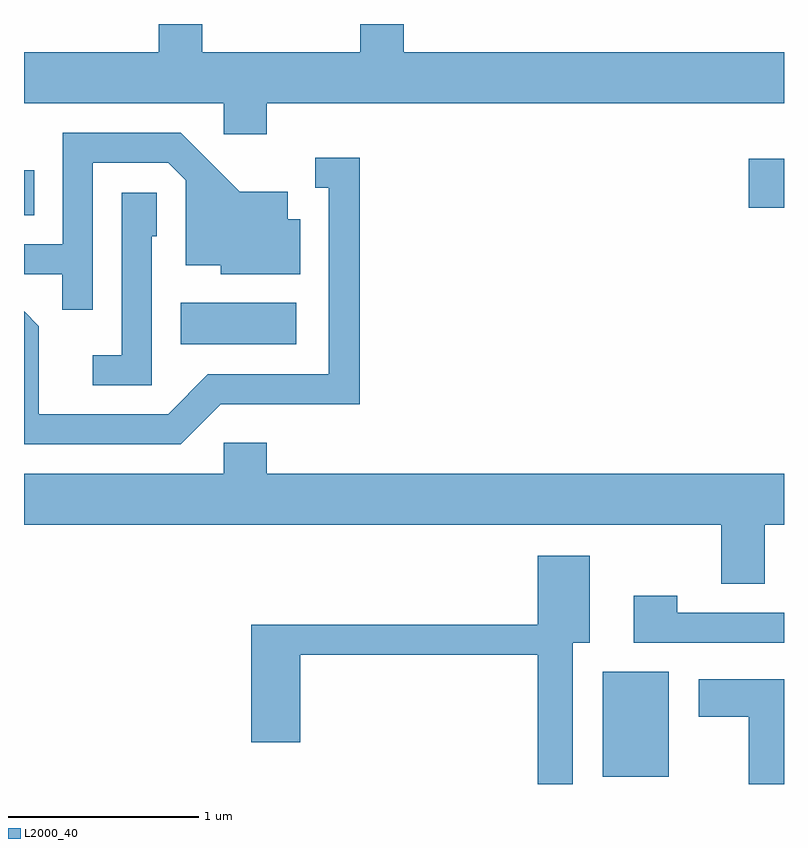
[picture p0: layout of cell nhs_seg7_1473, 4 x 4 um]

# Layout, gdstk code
import gdstk
lib = gdstk.Library(unit=1e-6, precision=1e-09)
def R(c, l, rs):  # rectangles x0, y0, x1, y1
    for r in rs: c.add(gdstk.rectangle(r[:2], r[2:], *l))
def P(c, l, *ps):  # polygons
    for p in ps: c.add(gdstk.Polygon(p, *l))
L2000_40 = (2000, 40)

nhs_seg7_1473 = lib.new_cell('nhs_seg7_1473')
R(nhs_seg7_1473, L2000_40, [(232.656,1746.291,233.004,1746.844), (230.436,1748.566,231.044,1748.784), (229.611,1749.246,229.664,1749.483), (233.426,1749.286,233.611,1749.544)])
P(nhs_seg7_1473, L2000_40, [(230.889,1749.836),(233.611,1749.836),(233.611,1750.104),(231.609,1750.104),(231.609,1750.252),(231.381,1750.252),(231.381,1750.104),(230.549,1750.104),(230.549,1750.252),(230.321,1750.252),(230.321,1750.104),(229.611,1750.104),(229.611,1749.836),(230.661,1749.836),(230.661,1749.671),(230.889,1749.671)],
  [(229.974,1749.521),(230.369,1749.521),(230.461,1749.429),(230.461,1748.981),(230.646,1748.981),(230.646,1748.936),(231.064,1748.936),(231.064,1749.224),(230.999,1749.224),(230.999,1749.369),(230.747,1749.369),(230.437,1749.679),(229.816,1749.679),(229.816,1749.094),(229.611,1749.094),(229.611,1748.936),(229.811,1748.936),(229.811,1748.748),(229.974,1748.748)],
  [(230.647,1748.251),(231.379,1748.251),(231.379,1749.549),(231.143,1749.549),(231.143,1749.391),(231.216,1749.391),(231.216,1748.409),(230.579,1748.409),(230.369,1748.199),(229.689,1748.199),(229.689,1748.662),(229.611,1748.74),(229.611,1748.041),(230.437,1748.041)],
  [(230.284,1749.136),(230.309,1749.136),(230.309,1749.364),(230.126,1749.364),(230.126,1748.509),(229.973,1748.509),(229.973,1748.351),(230.284,1748.351)],
  [(233.509,1747.616),(233.611,1747.616),(233.611,1747.884),(230.889,1747.884),(230.889,1748.049),(230.661,1748.049),(230.661,1747.884),(229.611,1747.884),(229.611,1747.616),(233.281,1747.616),(233.281,1747.306),(233.509,1747.306)],
  [(232.499,1746.996),(232.589,1746.996),(232.589,1747.454),(232.316,1747.454),(232.316,1747.089),(230.806,1747.089),(230.806,1746.471),(231.064,1746.471),(231.064,1746.931),(232.316,1746.931),(232.316,1746.252),(232.499,1746.252)],
  [(233.611,1747.154),(233.049,1747.154),(233.049,1747.244),(232.821,1747.244),(232.821,1746.996),(233.611,1746.996)],
  [(233.611,1746.804),(233.161,1746.804),(233.161,1746.606),(233.426,1746.606),(233.426,1746.252),(233.611,1746.252)])

lib.write_gds('nhs_seg7_1473.gds')
